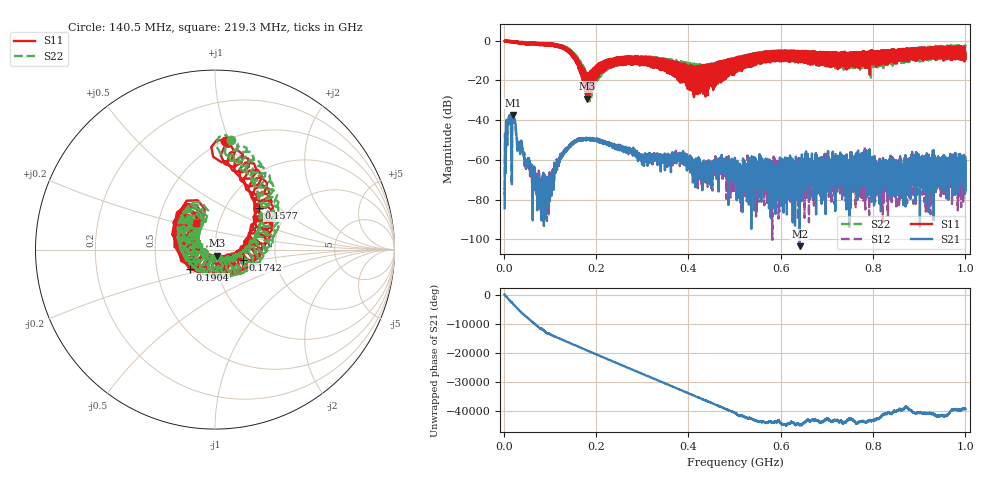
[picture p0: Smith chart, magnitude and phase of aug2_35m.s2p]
!Keysight Technologies N9923A: A.12.45
!Date: Saturday, 02 August 2025 19:25:19
!Timezone: (UTC+08:00) Kuala Lumpur, Singapore
!Model: N9923A
!Serial: MY61181427
!GPS Latitude:
!GPS Longitude:
!GPS TimeStamp: 0001-01-01 00:00:00Z
!GPS Seconds Since Last Read: 0
!CHECKSUM:2080962050
!Correction: S11(ON U)S21(ON U)S12(ON U)S22(ON U)
!S2P File: Measurements:S11,S21,S12,S22:
# Hz S DB R 50
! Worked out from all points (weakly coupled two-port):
!   4001 points, 2 MHz to 1 GHz, reference 50 ohm
!   highest |S21| = -37.36 dB at 19.71 MHz (marker M1); lowest = -103.5 dB at 641.2 MHz (marker M2)
!   lowest |S11| = -29.1 dB at 181.1 MHz (marker M3), VSWR 1.07, Z = 51 - j3.39 ohm
!   |S11| at or under -10 dB: 160.8 MHz to 223.4 MHz (62.58 MHz wide, 32.6 % of centre); 354.6 MHz to 357.8 MHz (3.221 MHz wide, 0.904 % of centre); 357.8 MHz to 479.8 MHz (122 MHz wide, 29.1 % of centre) (the widest 3 of 300)
!   |S22| runs from -30.5 to 0.1 dB; largest |S21 - S12| = 0.0026
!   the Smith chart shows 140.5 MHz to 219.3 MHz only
!   S11 on the Smith chart (normalised r, x): 140.5 MHz: 0.50, +0.96; 157.7 MHz: 1.42, +0.73; 174.2 MHz: 1.36, -0.16; 190.4 MHz: 0.74, -0.17; 219.3 MHz: 0.77, +0.24
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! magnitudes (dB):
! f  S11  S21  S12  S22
! 2 MHz  -0.1  -84.4  -74.2  -0.1
! 9.984 MHz  0.0  -40.8  -40.8  0.1
! 19.71 MHz  -0.6  -37.4  -37.5  -0.5
! 66.62 MHz  -1.4  -68.3  -69.2  -1.5
! 92.57 MHz  -1.9  -69.1  -74.7  -1.5
! 140.5 MHz  -4.3  -53.7  -53.7  -4.2
! 157.7 MHz  -9.5  -51.0  -50.1  -8.0
! 168.4 MHz  -15.2  -49.9  -49.6  -15.3
! 174.2 MHz  -15.7  -49.8  -49.6  -13.6
! 181.1 MHz  -29.1  -49.3  -49.3  -19.8
! 190.4 MHz  -15.0  -49.5  -49.5  -15.9
! 219.3 MHz  -14.7  -50.9  -51.5  -13.2
! 334.8 MHz  -11.8  -60.2  -59.1  -9.0
! 387 MHz  -21.0  -59.2  -60.9  -12.7
! 417.2 MHz  -26.4  -61.4  -63.5  -14.8
! 501 MHz  -11.8  -63.6  -71.2  -13.9
! 641.2 MHz  -7.5  -103.5  -66.1  -5.5
! 667.4 MHz  -6.2  -71.4  -71.4  -10.8
! 779.2 MHz  -8.8  -56.5  -81.1  -6.7
! 833.8 MHz  -6.1  -64.7  -70.1  -8.4
! 981.3 MHz  -8.7  -61.4  -60.0  -2.4
! 1 GHz  -6.1  -59.2  -56.7  -2.7
